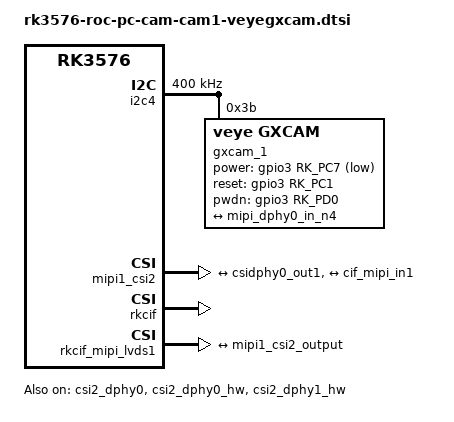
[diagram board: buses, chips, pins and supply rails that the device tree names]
// SPDX-License-Identifier: (GPL-2.0+ OR MIT)
/*
 * Copyright (c) 2021 Rockchip Electronics Co., Ltd.
 *
 */

&i2c4 {
	status = "okay";
	clock-frequency = <400000>;
	pinctrl-names = "default";
	pinctrl-0 = <&i2c4m3_xfer>;
       	gxcam_1: gxcam@3b{
               status = "okay";
               compatible = "veye,gxcam";
               reg = <0x3b>;
               clocks = <&cru CLK_MIPI_CAMERAOUT_M1>;
               clock-names = "xvclk";
               pinctrl-names = "default";
               pinctrl-0 = <&cam_clk1m0_clk1>;
               power-domains = <&power RK3576_PD_VI>;

               power-gpios = <&gpio3 RK_PC7 GPIO_ACTIVE_LOW>;
               reset-gpios = <&gpio3 RK_PC1 GPIO_ACTIVE_HIGH>;
               pwdn-gpios = <&gpio3 RK_PD0 GPIO_ACTIVE_HIGH>;

               //avdd-supply = <&vcc_mipidcphy0>;
               rockchip,camera-module-index = <0>;
               rockchip,camera-module-facing = "back";
               rockchip,camera-module-name = "NC";
               rockchip,camera-module-lens-name = "NC";
               port {
				gxcam_out1: endpoint {
					remote-endpoint = <&mipi_dphy0_in_n4>;
					data-lanes = <1 2>;
				};
                
			};
       };

};

&csi2_dphy0 {
	status = "okay";

	ports {
		#address-cells = <1>;
		#size-cells = <0>;
		port@0 {
			reg = <0>;
			#address-cells = <1>;
			#size-cells = <0>;

			mipi_dphy0_in_n4: endpoint@2 {
				reg = <2>;
				remote-endpoint = <&gxcam_out1>;
				data-lanes = <1 2>;
			};
		};
		port@1 {
			reg = <1>;
			#address-cells = <1>;
			#size-cells = <0>;

			csidphy0_out1: endpoint@0 {
				reg = <0>;
				remote-endpoint = <&mipi1_csi2_input>;
			};
		};
	};
};

&csi2_dphy0_hw {
	status = "okay";
};

&csi2_dphy1_hw{
	status = "okay";
};

&mipi1_csi2 {
	status = "okay";

	ports {
		#address-cells = <1>;
		#size-cells = <0>;

		port@0 {
			reg = <0>;
			#address-cells = <1>;
			#size-cells = <0>;

			mipi1_csi2_input: endpoint@0 {
				reg = <0>;
				remote-endpoint = <&csidphy0_out1>;
			};
		};

		port@1 {
			reg = <1>;
			#address-cells = <1>;
			#size-cells = <0>;

			mipi1_csi2_output: endpoint@0 {
				reg = <0>;
				remote-endpoint = <&cif_mipi_in1>;
			};
		};
	};
};

&pinctrl {
	cam {
		mipidphy0_pwr: mipidphy0-pwr {
			rockchip,pins =
				/* camera power en */
				<1 RK_PB1 RK_FUNC_GPIO &pcfg_pull_none>;
		};
	};
};

&rkcif {
	status = "okay";
	rockchip,android-usb-camerahal-enable;
};

&rkcif_mipi_lvds1 {
	status = "okay";

	port {
		cif_mipi_in1: endpoint {
			remote-endpoint = <&mipi1_csi2_output>;
		};
	};
};

/*
&rkcif_mipi_lvds2_sditf {
	status = "disabled";

	port {
		mipi_lvds2_sditf: endpoint {
			remote-endpoint = <&isp0_vir0>;
		};
	};
};
*/
&rkcif_mmu {
	status = "okay";
};
/*
&rkisp0 {
	status = "disabled";
};

&isp0_mmu {
	status = "disabled";
};

&rkisp0_vir0 {
	status = "disabled";

	port {
		#address-cells = <1>;
		#size-cells = <0>;

		isp0_vir0: endpoint@0 {
			reg = <0>;
			remote-endpoint = <&mipi_lvds2_sditf>;
		};
	};
};
*/
